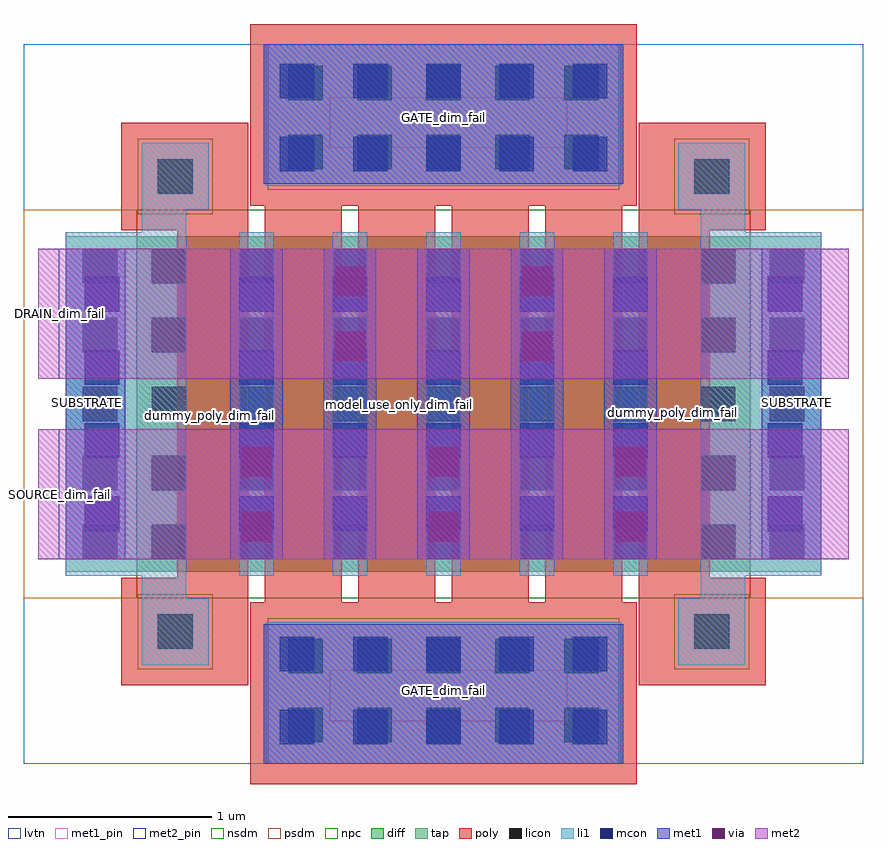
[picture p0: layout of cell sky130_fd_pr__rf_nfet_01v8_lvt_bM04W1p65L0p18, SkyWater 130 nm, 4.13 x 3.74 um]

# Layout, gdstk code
import gdstk
lib = gdstk.Library(unit=1e-6, precision=1e-09)
def R(c, l, rs):  # rectangles x0, y0, x1, y1
    for r in rs: c.add(gdstk.rectangle(r[:2], r[2:], *l))
def A(c, l, x, y, w, h, nx, ny, dx, dy):  # array of equal rectangles
    R(c, l, [(x+i*dx, y+j*dy, x+i*dx+w, y+j*dy+h) for i in range(nx) for j in range(ny)])
def P(c, l, *ps):  # polygons
    for p in ps: c.add(gdstk.Polygon(p, *l))
diff = (65, 20)
tap = (65, 44)
poly = (66, 20)
licon = (66, 44)
li1 = (67, 20)
mcon = (67, 44)
met1_pin = (68, 16)
met1 = (68, 20)
via = (68, 44)
met2_pin = (69, 16)
met2 = (69, 20)
nsdm = (93, 44)
psdm = (94, 20)
npc = (95, 20)
lvtn = (125, 44)

sky130_fd_pr__rf_nfet_01 = lib.new_cell('sky130_fd_pr__rf_nfet_01v8_lvt_bM04W1p65L0p18')
R(sky130_fd_pr__rf_nfet_01, diff, [(0.555,0.945,3.575,2.595)])
R(sky130_fd_pr__rf_nfet_01, tap, [(0.205,0.945,0.555,2.595), (3.575,0.945,3.925,2.595)])
P(sky130_fd_pr__rf_nfet_01, poly, [(0.48,0.385),(0.48,0.915),(0.755,0.915),(0.755,2.625),(0.48,2.625),(0.48,3.155),(1.105,3.155),(1.105,0.385)],
  [(3.025,0.385),(3.025,3.155),(3.65,3.155),(3.65,2.625),(3.375,2.625),(3.375,0.915),(3.65,0.915),(3.65,0.385)],
  [(1.115,-0.1),(1.115,0.795),(1.185,0.795),(1.185,2.745),(1.565,2.745),(1.565,0.795),(1.645,0.795),(1.645,2.745),(2.025,2.745),(2.025,0.795),(2.105,0.795),(2.105,2.745),(2.485,2.745),(2.485,0.795),(2.565,0.795),(2.565,2.745),(1.115,2.745),(1.115,3.64),(3.015,3.64),(3.015,2.745),(2.945,2.745),(2.945,0.795),(3.015,0.795),(3.015,-0.1)])
A(sky130_fd_pr__rf_nfet_01, licon, 1.3, 0.105, 0.17, 0.17, 5, 2, 0.34, 0.34)
A(sky130_fd_pr__rf_nfet_01, licon, 0.29, 1.005, 0.17, 0.17, 1, 5, 0, 0.34)
A(sky130_fd_pr__rf_nfet_01, licon, 0.63, 1.005, 0.17, 0.17, 1, 5, 0, 0.34)
A(sky130_fd_pr__rf_nfet_01, licon, 1.06, 1.005, 0.17, 0.17, 3, 1, 0.46, 0)
A(sky130_fd_pr__rf_nfet_01, licon, 1.98, 1.005, 0.17, 0.17, 3, 1, 0.46, 0)
A(sky130_fd_pr__rf_nfet_01, licon, 3.33, 1.005, 0.17, 0.17, 1, 5, 0, 0.34)
A(sky130_fd_pr__rf_nfet_01, licon, 3.67, 1.005, 0.17, 0.17, 1, 5, 0, 0.34)
A(sky130_fd_pr__rf_nfet_01, licon, 1.06, 1.345, 0.17, 0.17, 5, 4, 0.46, 0.34)
A(sky130_fd_pr__rf_nfet_01, licon, 1.3, 2.925, 0.17, 0.17, 5, 2, 0.34, 0.34)
R(sky130_fd_pr__rf_nfet_01, licon, [(0.66,0.565,0.83,0.735), (3.3,0.565,3.47,0.735), (1.06,1.005,1.23,1.175), (2.9,1.005,3.07,1.175), (0.66,2.805,0.83,2.975), (3.3,2.805,3.47,2.975)])
A(sky130_fd_pr__rf_nfet_01, li1, 1.06, 0.925, 0.17, 1.69, 5, 1, 0.46, 0)
R(sky130_fd_pr__rf_nfet_01, li1, [(1.19,0,2.94,0.695), (0.58,0.485,0.91,0.815), (3.22,0.485,3.55,0.815), (0.58,0.815,0.8,0.925), (3.33,0.815,3.55,0.925), (0.205,0.925,0.8,2.615), (3.33,0.925,3.925,2.615), (0.58,2.615,0.8,2.725), (3.33,2.615,3.55,2.725), (0.58,2.725,0.91,3.055), (3.22,2.725,3.55,3.055), (1.19,2.845,2.94,3.54)])
A(sky130_fd_pr__rf_nfet_01, mcon, 1.26, 0.095, 0.17, 0.17, 5, 2, 0.36, 0.36)
A(sky130_fd_pr__rf_nfet_01, mcon, 0.3, 1.145, 0.17, 0.17, 1, 4, 0, 0.36)
A(sky130_fd_pr__rf_nfet_01, mcon, 1.06, 1.145, 0.17, 0.17, 5, 4, 0.46, 0.36)
A(sky130_fd_pr__rf_nfet_01, mcon, 3.66, 1.145, 0.17, 0.17, 1, 4, 0, 0.36)
A(sky130_fd_pr__rf_nfet_01, mcon, 1.26, 2.915, 0.17, 0.17, 5, 2, 0.36, 0.36)
R(sky130_fd_pr__rf_nfet_01, met1_pin, [(1.505,0.21,2.675,0.46), (0.205,1.695,0.435,1.845), (3.695,1.695,3.925,1.845), (1.505,3.03,2.675,3.28)])
A(sky130_fd_pr__rf_nfet_01, met1, 1.015, 1.005, 0.26, 1.53, 5, 1, 0.46, 0)
R(sky130_fd_pr__rf_nfet_01, met1, [(1.18,0,2.95,0.685), (0.205,1.005,0.5,2.535), (3.63,1.005,3.925,2.535), (1.18,2.855,2.95,3.54)])
A(sky130_fd_pr__rf_nfet_01, via, 1.07, 1.09, 0.15, 0.15, 3, 2, 0.92, 0.32)
R(sky130_fd_pr__rf_nfet_01, via, [(1.53,1.98,1.68,2.13), (2.45,1.98,2.6,2.13), (1.53,2.3,1.68,2.45), (2.45,2.3,2.6,2.45)])
R(sky130_fd_pr__rf_nfet_01, met2_pin, [(0.07,1.005,0.175,1.645), (0.07,1.895,0.175,2.535)])
R(sky130_fd_pr__rf_nfet_01, met2, [(0.07,1.005,4.06,1.645), (0.07,1.895,4.06,2.535)])
R(sky130_fd_pr__rf_nfet_01, nsdm, [(0.555,0.815,3.575,2.725)])
R(sky130_fd_pr__rf_nfet_01, psdm, [(0,0.815,0.555,2.725), (3.575,0.815,4.13,2.725)])
R(sky130_fd_pr__rf_nfet_01, npc, [(1.2,0,2.93,0.715), (0.56,0.465,0.93,0.835), (3.2,0.465,3.57,0.835), (0.56,2.705,0.93,3.075), (3.2,2.705,3.57,3.075), (1.2,2.825,2.93,3.54)])
R(sky130_fd_pr__rf_nfet_01, lvtn, [(0,0,4.13,3.54)])
sky130_fd_pr__rf_nfet_01.add(gdstk.Label('dummy_poly_dim_fail', (3.19,1.73), layer=83, texttype=44))
sky130_fd_pr__rf_nfet_01.add(gdstk.Label('dummy_poly_dim_fail', (0.915,1.715), layer=83, texttype=44))
sky130_fd_pr__rf_nfet_01.add(gdstk.Label('GATE_dim_fail', (2.065,3.18), layer=68, texttype=5))
sky130_fd_pr__rf_nfet_01.add(gdstk.Label('GATE_dim_fail', (2.065,0.36), layer=68, texttype=5))
sky130_fd_pr__rf_nfet_01.add(gdstk.Label('SUBSTRATE', (0.315,1.775), layer=68, texttype=16))
sky130_fd_pr__rf_nfet_01.add(gdstk.Label('SUBSTRATE', (3.805,1.775), layer=68, texttype=16))
sky130_fd_pr__rf_nfet_01.add(gdstk.Label('model_use_only_dim_fail', (3.185,1.77), layer=66, texttype=83))
sky130_fd_pr__rf_nfet_01.add(gdstk.Label('model_use_only_dim_fail', (1.39,1.77), layer=66, texttype=83))
sky130_fd_pr__rf_nfet_01.add(gdstk.Label('model_use_only_dim_fail', (1.85,1.77), layer=66, texttype=83))
sky130_fd_pr__rf_nfet_01.add(gdstk.Label('model_use_only_dim_fail', (2.74,1.77), layer=66, texttype=83))
sky130_fd_pr__rf_nfet_01.add(gdstk.Label('model_use_only_dim_fail', (2.28,1.77), layer=66, texttype=83))
sky130_fd_pr__rf_nfet_01.add(gdstk.Label('model_use_only_dim_fail', (0.905,1.77), layer=66, texttype=83))
sky130_fd_pr__rf_nfet_01.add(gdstk.Label('SOURCE_dim_fail', (0.175,1.325), layer=69, texttype=5))
sky130_fd_pr__rf_nfet_01.add(gdstk.Label('DRAIN_dim_fail', (0.175,2.215), layer=69, texttype=5))

lib.write_gds('sky130_fd_pr__rf_nfet_01v8_lvt_bM04W1p65L0p18.gds')
